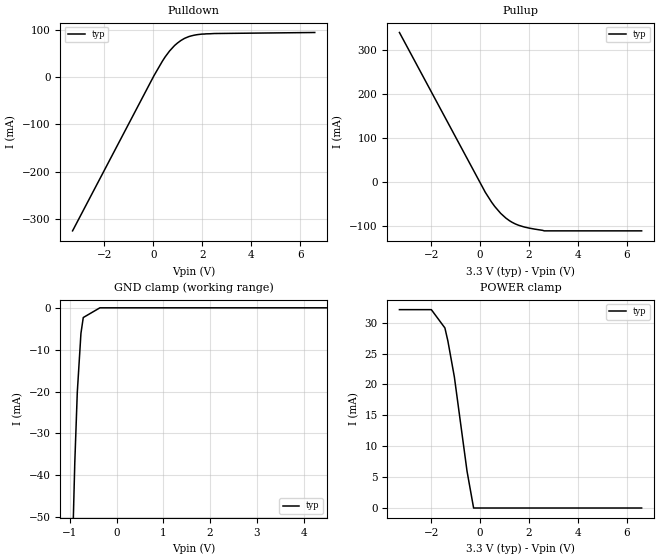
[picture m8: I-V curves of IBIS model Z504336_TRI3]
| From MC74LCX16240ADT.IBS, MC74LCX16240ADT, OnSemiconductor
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| (C) COPYRIGHT 1993-2000
| MENTOR GRAPHICS CORPORATION
| ICX STANDARD LIBRARY, ICX PROJECT MODELING,
| ICX CUSTOM MODELING, ICX VENDOR MODEL
| ALL RIGHTS RESERVED.
| THE FOLLOWING ARE TRADEMARKS OR SERVICE MARKS OF
| MENTOR GRAPHICS CORPORATION:ICX (R), ICX STANDARD
| LIBRARY(R), ICX PROJECT MODELING(R), ICX CUSTOM
| MODELING(R), qualityIBIS(TM), MODELVIEWER(TM),
| AND MODELEDITOR(TM)
| ALL COPIES OF SOFTWARE, INCLUDING BUT NOT LIMITED TO
| ANY MODIFICATIONS, ENHANCEMENTS OR DERIVATIVE WORKS,
| MUST CONTAIN ALL MENTOR GRAPHICS CORPORATION'S
| NOTICES AND LEGENDS, INCLUDING THOSE EMBEDDED IN
| SOFTWARE AND THOSE AFFIXED TO SOFTWARE MEDIUM
| AND CONTAINER, AS RECEIVED FROM MENTOR GRAPHICS
| CORPORATION.
| Model Application Version 1.89 2/18/99.
[Model] Z504336_TRI3
Model_type 3-state
Vref=0.000V
Rref=500.0ohms
Cref=50.00pF
Vmeas=1.500V
C_comp 8.000pF NA NA
| variable typ   min   max
[Voltage Range] 3.300V NA NA
[POWER Clamp Reference] 3.300V NA NA
[Pullup Reference] 3.300V NA NA
[Pulldown Reference] 0.000V NA NA
[GND Clamp Reference] 0.000V NA NA
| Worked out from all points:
|   slope of the pulldown table from 0 to 0.495 V, typ, clamps not added: 11.5 ohm
|   slope of the pullup table from 0 to 0.495 V, typ, clamps not added: 10.7 ohm
[GND Clamp]
-3.3V     -1.383A    NA         NA
-1.034V   -96.87mA   NA         NA
-893.5mV  -37.1mA    NA         NA
-839.7mV  -20.19mA   NA         NA
-761.6mV  -6.109mA   NA         NA
-711.9mV  -2.321mA   NA         NA
-355.9mV  0A         NA         NA
6.6V      0A         NA         NA
[Pulldown]
-3.3V     -324.5mA   NA         NA
24.57mV   2.649mA    NA         NA
479.2mV   42.12mA    NA         NA
664.5mV   54.97mA    NA         NA
987.4mV   71.76mA    NA         NA
1.274V    81.57mA    NA         NA
1.45V     85.35mA    NA         NA
1.986V    90.62mA    NA         NA
6.6V      94.02mA    NA         NA
[Pullup]
-3.3V     341mA      NA         NA
210mV     -24.14mA   NA         NA
595mV     -56.43mA   NA         NA
839mV     -72.26mA   NA         NA
1.049V    -82.94mA   NA         NA
1.298V    -92.44mA   NA         NA
1.568V    -99.38mA   NA         NA
2.616V    -112.2mA   NA         NA
6.6V      -112.2mA   NA         NA
[POWER Clamp]
-3.3V     32.12mA    NA         NA
-1.996V   32.12mA    NA         NA
-1.442V   29.16mA    NA         NA
-1.32V    27.05mA    NA         NA
-1.055V   21.23mA    NA         NA
-537mV    5.96mA     NA         NA
-268.5mV  0A         NA         NA
6.6V      0A         NA         NA
[Ramp]
| variable typ min max
dV/dt_r 1.957/352.1p NA NA
dV/dt_f 1.957/413.8p NA NA
R_load = 500.0Ohms
